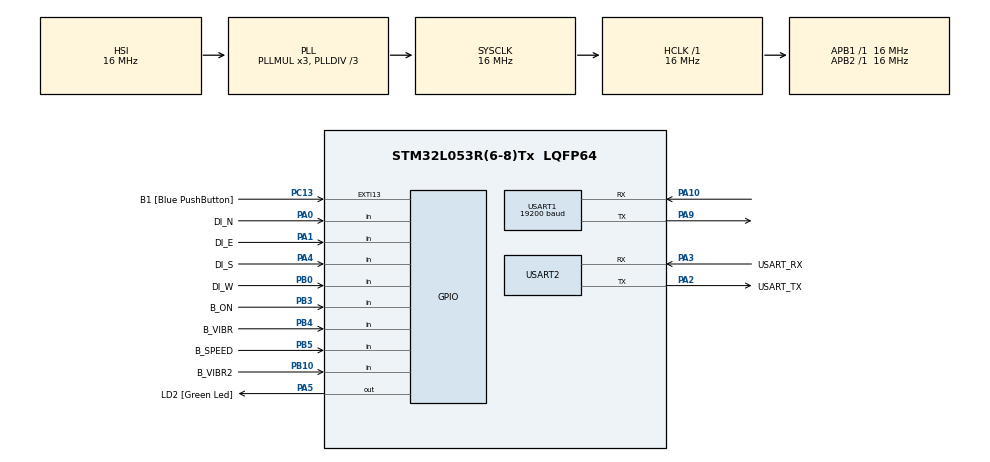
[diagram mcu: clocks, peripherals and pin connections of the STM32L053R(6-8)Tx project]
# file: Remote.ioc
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Mcu.Family=STM32L0
Mcu.Name=STM32L053R(6-8)Tx
Mcu.Package=LQFP64
NVIC.TIM21_IRQn=true\:0\:0\:false\:false\:true\:true
PA0.GPIO_Label=DI_N
PA0.GPIO_PuPd=GPIO_PULLDOWN
PA0.Signal=GPIO_Input
PA1.GPIO_Label=DI_E
PA1.GPIO_PuPd=GPIO_PULLDOWN
PA1.Signal=GPIO_Input
PA10.Mode=Asynchronous
PA10.Signal=USART1_RX
PA13.GPIO_Label=TMS
PA13.Signal=SYS_SWDIO
PA14.GPIO_Label=TCK
PA14.Signal=SYS_SWCLK
PA2.GPIO_Label=USART_TX
PA2.Mode=Asynchronous
PA2.Signal=USART2_TX
PA3.GPIO_Label=USART_RX
PA3.Mode=Asynchronous
PA3.Signal=USART2_RX
PA4.GPIO_Label=DI_S
PA4.GPIO_PuPd=GPIO_PULLDOWN
PA4.Signal=GPIO_Input
PA5.GPIO_Label=LD2 [Green Led]
PA5.Signal=GPIO_Output
PA9.Mode=Asynchronous
PA9.Signal=USART1_TX
PB0.GPIO_Label=DI_W
PB0.GPIO_PuPd=GPIO_PULLDOWN
PB0.Signal=GPIO_Input
PB10.GPIO_Label=B_VIBR2
PB10.GPIO_PuPd=GPIO_PULLDOWN
PB10.Signal=GPIO_Input
PB3.GPIO_Label=B_ON
PB3.Signal=GPIO_Input
PB4.GPIO_Label=B_VIBR
PB4.GPIO_PuPd=GPIO_PULLDOWN
PB4.Signal=GPIO_Input
PB5.GPIO_Label=B_SPEED
PB5.Signal=GPIO_Input
PC13.GPIO_Label=B1 [Blue PushButton]
PC13.GPIO_ModeDefaultEXTI=GPIO_MODE_IT_FALLING
PC13.Signal=GPXTI13
PC14-OSC32_IN.Signal=RCC_OSC32_IN
PC15-OSC32_OUT.Signal=RCC_OSC32_OUT
PH0-OSC_IN.Signal=RCC_OSC_IN
PH1-OSC_OUT.Signal=RCC_OSC_OUT
ProjectManager.HeapSize=0x200
ProjectManager.StackSize=0x400
ProjectManager.TargetToolchain=MDK-ARM V5
RCC.AHBFreq_Value=16000000
RCC.APB1Freq_Value=16000000
RCC.APB1TimFreq_Value=16000000
RCC.APB2Freq_Value=16000000
RCC.APB2TimFreq_Value=16000000
RCC.HCLKFreq_Value=16000000
RCC.HSE_VALUE=8000000
RCC.HSI16_VALUE=16000000
RCC.HSI48_VALUE=48000000
RCC.HSI_VALUE=16000000
RCC.LSEState=RCC_LSE_ON
RCC.LSE_VALUE=32768
RCC.MSI_VALUE=2097000
RCC.PLLDIV=RCC_PLLDIV_3
RCC.SYSCLKFreq_VALUE=16000000
RCC.SYSCLKSource=RCC_SYSCLKSOURCE_PLLCLK
RCC.VCOOutputFreq_Value=48000000
TIM21.CounterMode=TIM_COUNTERMODE_DOWN
TIM21.Period=10000
TIM21.Prescaler=16
USART1.BaudRate=19200
USART1.Mode=MODE_TX
USART1.VirtualMode-Asynchronous=VM_ASYNC
USART1.WordLength=WORDLENGTH_8B
USART2.VirtualMode-Asynchronous=VM_ASYNC
USART2.WordLength=WORDLENGTH_8B
VP_TIM21_VS_ClockSourceINT.Mode=Internal
board=NUCLEO-L053R8

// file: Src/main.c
/**
  ******************************************************************************
  * @file           : main.c
  * @brief          : Main program body
  ******************************************************************************
  ** This notice applies to any and all portions of this file
  * that are not between comment pairs USER CODE BEGIN and
  * USER CODE END. Other portions of this file, whether
  * inserted by the user or by software development tools
  * are owned by their respective copyright owners.
  *
  * COPYRIGHT(c) 2018 STMicroelectronics
  *
  * Redistribution and use in source and binary forms, with or without modification,
  * are permitted provided that the following conditions are met:
  *   1. Redistributions of source code must retain the above copyright notice,
  *      this list of conditions and the following disclaimer.
  *   2. Redistributions in binary form must reproduce the above copyright notice,
  *      this list of conditions and the following disclaimer in the documentation
  *      and/or other materials provided with the distribution.
  *   3. Neither the name of STMicroelectronics nor the names of its contributors
  *      may be used to endorse or promote products derived from this software
  *      without specific prior written permission.
  *
  * THIS SOFTWARE IS PROVIDED BY THE COPYRIGHT HOLDERS AND CONTRIBUTORS "AS IS"
  * AND ANY EXPRESS OR IMPLIED WARRANTIES, INCLUDING, BUT NOT LIMITED TO, THE
  * IMPLIED WARRANTIES OF MERCHANTABILITY AND FITNESS FOR A PARTICULAR PURPOSE ARE
  * DISCLAIMED. IN NO EVENT SHALL THE COPYRIGHT HOLDER OR CONTRIBUTORS BE LIABLE
  * FOR ANY DIRECT, INDIRECT, INCIDENTAL, SPECIAL, EXEMPLARY, OR CONSEQUENTIAL
  * DAMAGES (INCLUDING, BUT NOT LIMITED TO, PROCUREMENT OF SUBSTITUTE GOODS OR
  * SERVICES; LOSS OF USE, DATA, OR PROFITS; OR BUSINESS INTERRUPTION) HOWEVER
  * CAUSED AND ON ANY THEORY OF LIABILITY, WHETHER IN CONTRACT, STRICT LIABILITY,
  * OR TORT (INCLUDING NEGLIGENCE OR OTHERWISE) ARISING IN ANY WAY OUT OF THE USE
  * OF THIS SOFTWARE, EVEN IF ADVISED OF THE POSSIBILITY OF SUCH DAMAGE.
  *
  ******************************************************************************
  */
#include "main.h"
#include "stm32l0xx_hal.h"

/* USER CODE BEGIN Includes */
#include "control.h"
/* USER CODE END Includes */

TIM_HandleTypeDef htim21;

UART_HandleTypeDef huart1;
UART_HandleTypeDef huart2;

/* USER CODE BEGIN PV */
/* Private variables ---------------------------------------------------------*/
uint8_t tim_10ms;
/* USER CODE END PV */

void SystemClock_Config(void);
static void MX_GPIO_Init(void);
static void MX_USART1_UART_Init(void);
static void MX_TIM21_Init(void);
static void MX_USART2_UART_Init(void);

/* USER CODE BEGIN PFP */
/* Private function prototypes -----------------------------------------------*/
HAL_StatusTypeDef Build_TX(TRemote *remote, uint8_t *TX_buffer);

/* USER CODE END PFP */

int main(void)
{
  /* USER CODE BEGIN 1 */
	uint8_t tx_buf[1] = "\0";
	uint8_t tx_buf_len = 1;

	TRemote remote;
	TButton button;

	HAL_StatusTypeDef state;

  /* USER CODE END 1 */

  /* MCU Configuration----------------------------------------------------------*/

  /* Reset of all peripherals, Initializes the Flash interface and the Systick. */
  HAL_Init();

  /* Configure the system clock */
  SystemClock_Config();

  /* Initialize all configured peripherals */
  MX_GPIO_Init();
  MX_USART1_UART_Init();
  MX_TIM21_Init();
  MX_USART2_UART_Init();
  /* USER CODE BEGIN 2 */
	HAL_TIM_Base_Start_IT(&htim21);
	Remote_Init(&remote);
	Button_Init(&button);
  /* USER CODE END 2 */

  /* Infinite loop */
  while (1)
  {

  /* USER CODE BEGIN 3 */
		if (tim_10ms == 1)
		{
			Read_Buttons(&remote, &button);

			if(remote.Ign == B_ON)
				HAL_GPIO_WritePin(LD2_GPIO_Port, LD2_Pin, GPIO_PIN_SET);		// for debugging turn LED2 on
			else
				HAL_GPIO_WritePin(LD2_GPIO_Port, LD2_Pin, GPIO_PIN_RESET);	// for debugging turn LED2 off
//			HAL_GPIO_TogglePin(LD2_GPIO_Port, LD2_Pin);											// for debugging turn LED2 on

			Read_Joystick(&remote);

			Build_TX(&remote, tx_buf);

			state = HAL_UART_Transmit(&huart1, tx_buf, tx_buf_len, 1);
			if(state != HAL_OK)
			{

			}

			tim_10ms = 0;
		}
  }
  /* USER CODE END 3 */

}

void SystemClock_Config(void)
{

  RCC_OscInitTypeDef RCC_OscInitStruct;
  RCC_ClkInitTypeDef RCC_ClkInitStruct;
  RCC_PeriphCLKInitTypeDef PeriphClkInit;

    /**Configure the main internal regulator output voltage
    */
  __HAL_PWR_VOLTAGESCALING_CONFIG(PWR_REGULATOR_VOLTAGE_SCALE1);

    /**Initializes the CPU, AHB and APB busses clocks
    */
  RCC_OscInitStruct.OscillatorType = RCC_OSCILLATORTYPE_HSI;
  RCC_OscInitStruct.HSIState = RCC_HSI_ON;
  RCC_OscInitStruct.HSICalibrationValue = 16;
  RCC_OscInitStruct.PLL.PLLState = RCC_PLL_ON;
  RCC_OscInitStruct.PLL.PLLSource = RCC_PLLSOURCE_HSI;
  RCC_OscInitStruct.PLL.PLLMUL = RCC_PLLMUL_3;
  RCC_OscInitStruct.PLL.PLLDIV = RCC_PLLDIV_3;
  if (HAL_RCC_OscConfig(&RCC_OscInitStruct) != HAL_OK)
  {
    _Error_Handler(__FILE__, __LINE__);
  }

    /**Initializes the CPU, AHB and APB busses clocks
    */
  RCC_ClkInitStruct.ClockType = RCC_CLOCKTYPE_HCLK|RCC_CLOCKTYPE_SYSCLK
                              |RCC_CLOCKTYPE_PCLK1|RCC_CLOCKTYPE_PCLK2;
  RCC_ClkInitStruct.SYSCLKSource = RCC_SYSCLKSOURCE_PLLCLK;
  RCC_ClkInitStruct.AHBCLKDivider = RCC_SYSCLK_DIV1;
  RCC_ClkInitStruct.APB1CLKDivider = RCC_HCLK_DIV1;
  RCC_ClkInitStruct.APB2CLKDivider = RCC_HCLK_DIV1;

  if (HAL_RCC_ClockConfig(&RCC_ClkInitStruct, FLASH_LATENCY_0) != HAL_OK)
  {
    _Error_Handler(__FILE__, __LINE__);
  }

  PeriphClkInit.PeriphClockSelection = RCC_PERIPHCLK_USART1|RCC_PERIPHCLK_USART2;
  PeriphClkInit.Usart1ClockSelection = RCC_USART1CLKSOURCE_PCLK2;
  PeriphClkInit.Usart2ClockSelection = RCC_USART2CLKSOURCE_PCLK1;
  if (HAL_RCCEx_PeriphCLKConfig(&PeriphClkInit) != HAL_OK)
  {
    _Error_Handler(__FILE__, __LINE__);
  }

    /**Configure the Systick interrupt time
    */
  HAL_SYSTICK_Config(HAL_RCC_GetHCLKFreq()/1000);

    /**Configure the Systick
    */
  HAL_SYSTICK_CLKSourceConfig(SYSTICK_CLKSOURCE_HCLK);

  /* SysTick_IRQn interrupt configuration */
  HAL_NVIC_SetPriority(SysTick_IRQn, 0, 0);
}

/* TIM21 init function */
static void MX_TIM21_Init(void)
{

  TIM_ClockConfigTypeDef sClockSourceConfig;
  TIM_MasterConfigTypeDef sMasterConfig;

  htim21.Instance = TIM21;
  htim21.Init.Prescaler = 16;
  htim21.Init.CounterMode = TIM_COUNTERMODE_DOWN;
  htim21.Init.Period = 10000;
  htim21.Init.ClockDivision = TIM_CLOCKDIVISION_DIV1;
  if (HAL_TIM_Base_Init(&htim21) != HAL_OK)
  {
    _Error_Handler(__FILE__, __LINE__);
  }

  sClockSourceConfig.ClockSource = TIM_CLOCKSOURCE_INTERNAL;
  if (HAL_TIM_ConfigClockSource(&htim21, &sClockSourceConfig) != HAL_OK)
  {
    _Error_Handler(__FILE__, __LINE__);
  }

  sMasterConfig.MasterOutputTrigger = TIM_TRGO_RESET;
  sMasterConfig.MasterSlaveMode = TIM_MASTERSLAVEMODE_DISABLE;
  if (HAL_TIMEx_MasterConfigSynchronization(&htim21, &sMasterConfig) != HAL_OK)
  {
    _Error_Handler(__FILE__, __LINE__);
  }

}

/* USART1 init function */
static void MX_USART1_UART_Init(void)
{

  huart1.Instance = USART1;
  huart1.Init.BaudRate = 19200;
  huart1.Init.WordLength = UART_WORDLENGTH_8B;
  huart1.Init.StopBits = UART_STOPBITS_1;
  huart1.Init.Parity = UART_PARITY_NONE;
  huart1.Init.Mode = UART_MODE_TX;
  huart1.Init.HwFlowCtl = UART_HWCONTROL_NONE;
  huart1.Init.OverSampling = UART_OVERSAMPLING_16;
  huart1.Init.OneBitSampling = UART_ONE_BIT_SAMPLE_DISABLE;
  huart1.AdvancedInit.AdvFeatureInit = UART_ADVFEATURE_NO_INIT;
  if (HAL_UART_Init(&huart1) != HAL_OK)
  {
    _Error_Handler(__FILE__, __LINE__);
  }

}

/* USART2 init function */
static void MX_USART2_UART_Init(void)
{

  huart2.Instance = USART2;
  huart2.Init.BaudRate = 115200;
  huart2.Init.WordLength = UART_WORDLENGTH_8B;
  huart2.Init.StopBits = UART_STOPBITS_1;
  huart2.Init.Parity = UART_PARITY_NONE;
  huart2.Init.Mode = UART_MODE_TX_RX;
  huart2.Init.HwFlowCtl = UART_HWCONTROL_NONE;
  huart2.Init.OverSampling = UART_OVERSAMPLING_16;
  huart2.Init.OneBitSampling = UART_ONE_BIT_SAMPLE_DISABLE;
  huart2.AdvancedInit.AdvFeatureInit = UART_ADVFEATURE_NO_INIT;
  if (HAL_UART_Init(&huart2) != HAL_OK)
  {
    _Error_Handler(__FILE__, __LINE__);
  }

}

/** Configure pins as
        * Analog
        * Input
        * Output
        * EVENT_OUT
        * EXTI
*/
static void MX_GPIO_Init(void)
{

  GPIO_InitTypeDef GPIO_InitStruct;

  /* GPIO Ports Clock Enable */
  __HAL_RCC_GPIOC_CLK_ENABLE();
  __HAL_RCC_GPIOH_CLK_ENABLE();
  __HAL_RCC_GPIOA_CLK_ENABLE();
  __HAL_RCC_GPIOB_CLK_ENABLE();

  /*Configure GPIO pin Output Level */
  HAL_GPIO_WritePin(LD2_GPIO_Port, LD2_Pin, GPIO_PIN_RESET);

  /*Configure GPIO pin : B1_Pin */
  GPIO_InitStruct.Pin = B1_Pin;
  GPIO_InitStruct.Mode = GPIO_MODE_IT_FALLING;
  GPIO_InitStruct.Pull = GPIO_NOPULL;
  HAL_GPIO_Init(B1_GPIO_Port, &GPIO_InitStruct);

  /*Configure GPIO pins : DI_N_Pin DI_E_Pin DI_S_Pin */
  GPIO_InitStruct.Pin = DI_N_Pin|DI_E_Pin|DI_S_Pin;
  GPIO_InitStruct.Mode = GPIO_MODE_INPUT;
  GPIO_InitStruct.Pull = GPIO_PULLDOWN;
  HAL_GPIO_Init(GPIOA, &GPIO_InitStruct);

  /*Configure GPIO pin : LD2_Pin */
  GPIO_InitStruct.Pin = LD2_Pin;
  GPIO_InitStruct.Mode = GPIO_MODE_OUTPUT_PP;
  GPIO_InitStruct.Pull = GPIO_NOPULL;
  GPIO_InitStruct.Speed = GPIO_SPEED_FREQ_LOW;
  HAL_GPIO_Init(LD2_GPIO_Port, &GPIO_InitStruct);

  /*Configure GPIO pins : DI_W_Pin B_VIBR2_Pin B_VIBR_Pin */
  GPIO_InitStruct.Pin = DI_W_Pin|B_VIBR2_Pin|B_VIBR_Pin;
  GPIO_InitStruct.Mode = GPIO_MODE_INPUT;
  GPIO_InitStruct.Pull = GPIO_PULLDOWN;
  HAL_GPIO_Init(GPIOB, &GPIO_InitStruct);

  /*Configure GPIO pins : B_ON_Pin B_SPEED_Pin */
  GPIO_InitStruct.Pin = B_ON_Pin|B_SPEED_Pin;
  GPIO_InitStruct.Mode = GPIO_MODE_INPUT;
  GPIO_InitStruct.Pull = GPIO_NOPULL;
  HAL_GPIO_Init(GPIOB, &GPIO_InitStruct);

}

/* USER CODE BEGIN 4 */

/**
  * @brief  This function build the TX Buffer for UART communication
  * @param  Struct of Remote
  * @param  Ptr to TX Buffer
	* @retval State of Function: HAL_OK, HAL_ERROR
  */
HAL_StatusTypeDef Build_TX(TRemote *remote, uint8_t *TX_buffer)
{
	switch (remote->Joystick)
	{
		case ST_HALT:
			TX_buffer[0] = HALT;
			break;
		case ST_FORW:
			TX_buffer[0] = FORW;
			break;
		case ST_FORWRIGHT:
			TX_buffer[0] = FORWR;
			break;
		case ST_RIGHT:
			TX_buffer[0] = RIGHT;
			break;
		case ST_BACKRIGHT:
			TX_buffer[0] = BACKR;
			break;
		case ST_BACK:
			TX_buffer[0] = BACK;
			break;
		case ST_BACKLEFT:
			TX_buffer[0] = BACKL;
			break;
		case ST_LEFT:
			TX_buffer[0] = LEFT;
			break;
		case ST_FORWLEFT:
			TX_buffer[0] = FORWL;
			break;
		default:
			TX_buffer[0] = HALT;
			return HAL_ERROR;
	}

	if(remote->Drivemode == B_VIBR)
	{
		TX_buffer[0] &= NORMAL;
		TX_buffer[0] |= VIBR;
	}
	else if(remote->Drivemode == B_VIBR_ALWAYS)
	{
		TX_buffer[0] &= NORMAL;
		TX_buffer[0] |= VIBR_ALWAYS;
	}
	else
		TX_buffer[0] &= NORMAL;

	if(remote->Drivespeed == B_FAST)
		TX_buffer[0] |= FAST;
	else
		TX_buffer[0] &= SLOW;

	if(remote->Ign == B_ON)
		TX_buffer[0] |= ON;
	else
		TX_buffer[0] &= OFF;

	return HAL_OK;
}

/* USER CODE END 4 */

void _Error_Handler(char *file, int line)
{
  while(1)
  {
  }
}

/************************ (C) COPYRIGHT STMicroelectronics *****END OF FILE****/
